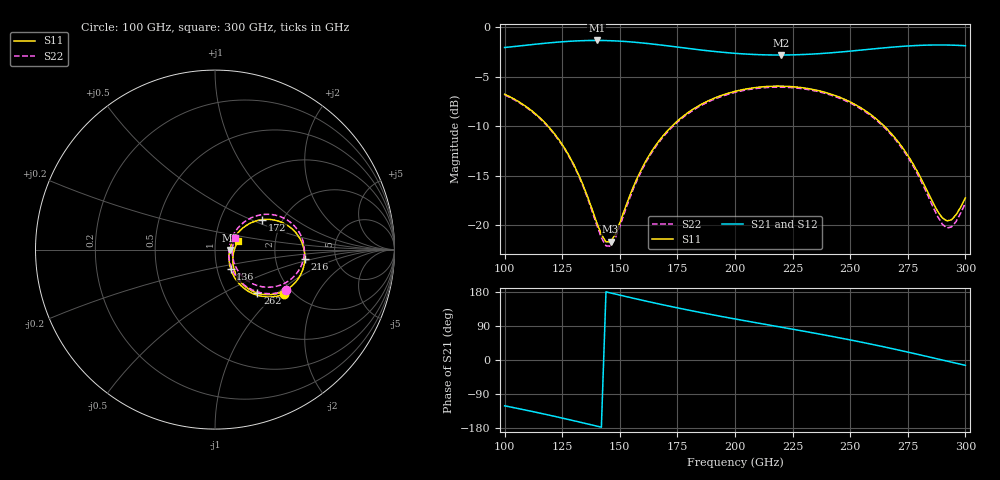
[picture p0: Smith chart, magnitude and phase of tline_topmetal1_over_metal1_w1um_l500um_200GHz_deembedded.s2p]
! Created with skrf 2.0.1 (http://scikit-rf.org).
# GHz S DB R 50.0
!freq dBS11 angS11 dBS21 angS21 dBS12 angS12 dBS22 angS22
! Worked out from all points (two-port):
!   101 points, 100 GHz to 300 GHz, reference 50 ohm
!   highest |S21| = -1.33 dB at 140 GHz (marker M1); lowest = -2.8 dB at 220 GHz (marker M2)
!   |S21| within 3 dB of the highest: start of sweep to end of sweep
!   lowest |S11| = -21.7 dB at 146 GHz (marker M3), VSWR 1.18, Z = 58.9 - j0.188 ohm
!   |S11| at or under -10 dB: 118.8 GHz to 172.7 GHz (53.82 GHz wide, 36.9 % of centre); 264.7 GHz to end of sweep
!   |S22| runs from -22.1 to -6.1 dB; largest |S21 - S12| = 9.8e-14
!   S11 on the Smith chart (normalised r, x): 100 GHz: 1.80, -1.13; 136 GHz: 1.16, -0.26; 172 GHz: 1.58, +0.58; 216 GHz: 2.96, -0.42; 262 GHz: 1.38, -0.76; 300 GHz: 1.29, +0.12
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100  -6.78 -32.8  -2.05 -120.9  -2.05 -120.9  -6.84 -29.9
120  -10.30 -50.8  -1.56 -146.4  -1.56 -146.4  -10.38 -47.5
134  -15.93 -53.5  -1.35 -165.9  -1.35 -165.9  -16.06 -50.3
136  -17.13 -51.0  -1.34 -168.7  -1.34 -168.7  -17.29 -47.9
140  -19.76 -39.8  -1.33 -174.5  -1.33 -174.5  -20.01 -36.8
144  -21.71 -16.1  -1.34 179.8  -1.34 179.8  -22.12 -12.4
146  -21.71 -1.1  -1.36 176.9  -1.36 176.9  -22.15 3.4
158  -15.02 37.3  -1.54 160.1  -1.54 160.1  -15.21 43.2
168  -11.20 35.2  -1.80 146.6  -1.80 146.6  -11.33 41.1
172  -10.15 32.5  -1.91 141.4  -1.91 141.4  -10.27 38.4
186  -7.72 20.8  -2.32 124.3  -2.32 124.3  -7.82 27.0
200  -6.48 8.2  -2.63 108.3  -2.63 108.3  -6.59 14.8
216  -5.97 -6.0  -2.80 91.0  -2.80 91.0  -6.07 0.9
220  -5.96 -9.5  -2.80 86.7  -2.80 86.7  -6.06 -2.6
234  -6.30 -21.9  -2.70 71.4  -2.70 71.4  -6.40 -14.7
248  -7.33 -34.3  -2.45 55.4  -2.45 55.4  -7.44 -26.9
262  -9.41 -45.7  -2.14 38.1  -2.14 38.1  -9.53 -38.3
268  -10.79 -49.5  -2.01 30.3  -2.01 30.3  -10.92 -42.1
278  -14.11 -50.8  -1.85 16.7  -1.85 16.7  -14.32 -43.9
290  -19.29 -23.4  -1.79 -0.0  -1.79 -0.0  -19.93 -16.1
294  -19.47 -3.1  -1.81 -5.7  -1.81 -5.7  -20.20 6.0
300  -17.26 19.5  -1.86 -14.1  -1.86 -14.1  -17.79 30.5
